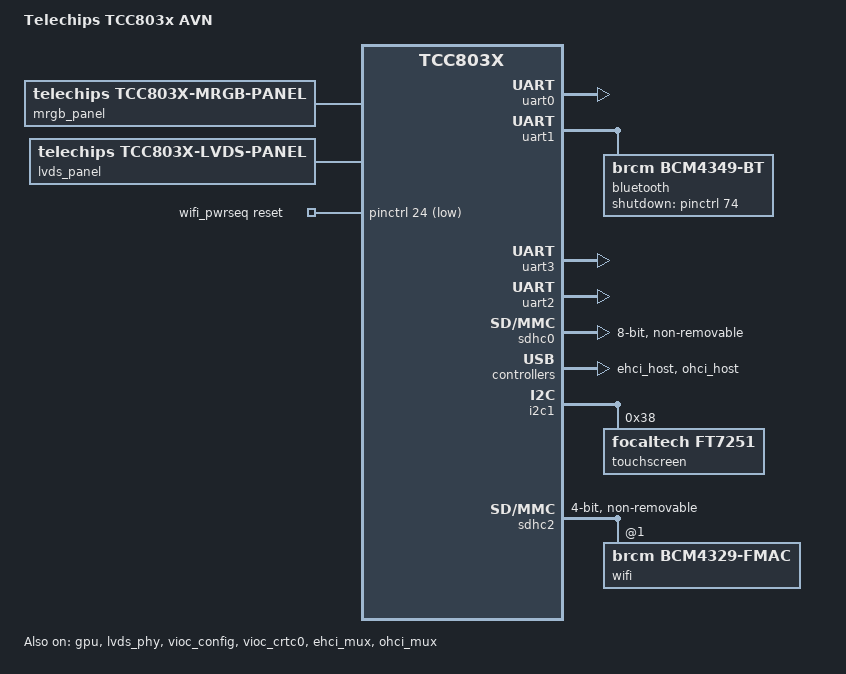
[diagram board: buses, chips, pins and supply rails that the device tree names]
// SPDX-License-Identifier: (GPL-2.0-only OR MIT)
/*
 * Minimal example board: Telechips TCC803x "AVN" (Audio Video Navigation)
 * automotive head-unit class.
 *
 * AVN as a real board class for this SoC is confirmed in vendor source:
 *   arch/arm/configs/tcc803x_android_avn_defconfig:413 (CONFIG_PLATFORM_AVN=y)
 * (path relative to AVNT5W_TCC803XKK_kernel/, see tcc803x.dtsi for the
 * full reference-tree note). No vendor .dts is literally named
 * "tcc803x-avn" -- real AVN board .dts files in that tree are named for
 * sibling chips in the family (tcc8970/tcc8971/tcc8031). This file is a
 * from-scratch placeholder board using the generic SoC name, not a port
 * of any specific vendor board file.
 *
 * Everything board-specific below (model string, memory size, UART
 * enablement) is a placeholder pending a real schematic/board reference.
 */

/dts-v1/;

#include <dt-bindings/gpio/gpio.h>
#include "tcc803x.dtsi"

/ {
	model = "Telechips TCC803x AVN";
	compatible = "telechips,tcc803x-avn", "telechips,tcc803x";

	aliases {
		serial0 = &uart0;
		serial1 = &uart1;
		serial2 = &uart2;
		serial3 = &uart3;
	};

	chosen {
		/*
		 * Baud confirmed: vendor tcc803x.dtsi:29-30 (bootargs
		 * console=ttyAMA0,115200n8).
		 */
		stdout-path = "serial0:115200n8";

		/*
		 * The panel's scanout buffer the stock firmware leaves running:
		 * RDMA0 page 0 (the decompressor points RDMA0 BASE0 at it), the
		 * 1920x720 ARGB8888 layer behind the LVDS serializer.
		 */
		#address-cells = <1>;
		#size-cells = <1>;
		ranges;

		framebuffer@88000000 {
			compatible = "simple-framebuffer";
			reg = <0x88000000 0x546000>;
			width = <1920>;
			height = <720>;
			stride = <7680>;
			format = "a8r8g8b8";
		};
	};

	/*
	 * Component-master glue (drivers/gpu/drm/telechips/tcc803x_drm_drv.c)
	 * walks this "ports" phandle list positionally (drm_of_component_match_add()),
	 * not by compatible string. Only &vioc_crtc0 is listed: it is the only
	 * block that actually calls component_add() (tcc803x_drm_vioc.c).
	 *
	 * hdmi_tx is NOT listed here. Its driver
	 * (drivers/gpu/drm/bridge/tcc803x-dw-hdmi.c) is a DRM bridge, not a
	 * component - it registers via dw_hdmi_probe()/drm_bridge_add() and
	 * never calls component_add(), so a phandle in this match set would
	 * never be satisfied and component_bind_all() would wait on it
	 * forever. Instead, tcc803x_drm_vioc.c's ->bind() resolves hdmi_tx
	 * through the vioc_crtc0/hdmi_tx OF-graph "port"/"endpoint" pair in
	 * tcc803x.dtsi (devm_drm_of_get_bridge()) and calls
	 * drm_bridge_attach() directly on its own CRTC-owned encoder - the
	 * standard mainline pattern for a bridge behind a component CRTC
	 * (cf. drivers/gpu/drm/mxsfb/lcdif_drv.c's lcdif_attach_bridge()).
	 */
	display: display-subsystem {
		compatible = "telechips,tcc803x-display-subsystem";
		ports = <&vioc_crtc0>;
	};

	/*
	 * MRGB (synchronous parallel-RGB) panel output: structural only.
	 * Not in the "ports" component-match list above, and not OF-graph
	 * connected to vioc_crtc0's own port/endpoint (that endpoint is
	 * already paired 1:1 with hdmi_tx_in in tcc803x.dtsi; DISP0 is
	 * understood to feed HDMI and MRGB simultaneously on real hardware,
	 * but no driver here resolves a second, MRGB-side consumer yet, so
	 * adding a second endpoint would describe a connection nothing
	 * acts on). See Documentation/devicetree/bindings/display/
	 * telechips/telechips,tcc803x-mrgb-panel.yaml for what is and is
	 * not confirmed about this path -- notably, VIOC_OUTCFG_MRGB is
	 * never called by any vendor driver found in
	 * AVNT5W_TCC803XKK_kernel, and the only other same-resolution
	 * panel in that vendor tree is LVDS, off the same DISP0 this node
	 * uses (not DISP1 as an earlier pass claimed -- that board's own
	 * dts carries zero DISP overrides; it includes the real AVN
	 * board's base dtsi unmodified, whose fbdisplay node is
	 * fbdisplay_num=0). LVDS has a complete vendor driver and an on-die
	 * PHY (lvds_phy@12370000 in tcc803x.dtsi). Its CKC_PCLKCTRL gate
	 * (PERI_LVDS_PHY, clock ID 105) read EN=1/SEL=XIN on a live
	 * register capture off the real running unit -- the LVDS PHY's
	 * clock is actually enabled right now, not just present in source.
	 * (lvds_variant_check-gpio/digital_variant_check-gpio, named
	 * alongside each other in the real board's pinctrl, turned out to
	 * be camera-link variant detection -- drivers/misc/mobis/
	 * daudio_pinctrl.c:608-617 -- not display-panel detection; a live
	 * read of both returned 0/0 and doesn't bear on this question.)
	 * Real vendor source + live clock-gate evidence both lean LVDS over
	 * MRGB for the actual panel, even though this node stays MRGB
	 * pending live confirmation that DISP0's pixel stream actually
	 * reaches the panel through lvds_phy (see the binding's caveat
	 * section). This node exists so the real, live-captured DISP0
	 * timing has somewhere honest to live, not as a claim that an MRGB
	 * pipeline works end to end.
	 */
	mrgb_panel: panel {
		compatible = "telechips,tcc803x-mrgb-panel";
		width-mm = <92>;
		height-mm = <243>;

		panel-timing {
			hactive = <1920>;
			vactive = <720>;
			hsync-len = <31>;
			hfront-porch = <49>;
			hback-porch = <159>;
			vsync-len = <4>;
			vfront-porch = <14>;
			vback-porch = <27>;
			/*
			 * clock-frequency intentionally omitted -- see the
			 * binding's description for why this is a tracked
			 * gap, not an oversight. A dtbs_check run against
			 * mainline's generic panel-timing.yaml (which lists
			 * clock-frequency as required) will flag this node;
			 * that failure is expected until the real pixel
			 * clock is known, not a sign this node is wrong.
			 */
		};
	};
};

&uart0 {
	status = "okay";
};

/*
 * The BCM4359 combo chip's Bluetooth: an HCI UART, hardware flow control,
 * 115200 for the patch download. BT_RESET is gpc 13 (32 + 29 + 13 = pin 74),
 * which hci_bcm holds low until the controller is opened. No BT_REG_ON or
 * wake lines on this unit. The patch RAM (the stock bcm4349.hcd) is the
 * userspace's to supply: brcm/BCM4349B1.hcd or brcm/BCM.hcd.
 */
&uart1 {
	status = "okay";

	bluetooth {
		compatible = "brcm,bcm4349-bt";
		shutdown-gpios = <&pinctrl 74 GPIO_ACTIVE_HIGH>;
	};
};

/*
 * The GNSS receiver (vendor ttyTCC3, /dev/ttyGPS0 to the stock HAL), 115200 8N1.
 * Only the port is enabled: the receiver's power and reset lines (gpg-4
 * GPS_ANT_PWR_ON, gpa-26 GPS_RESET_N, polarity per hardware revision) are not
 * driven, so after a kexec from Android the chip is read as the stock left it.
 * The stock HAL speaks a binary protocol on it ("hippo"), not NMEA.
 */
&uart3 {
	status = "okay";
};

/*
 * The Mali-G51. Enabled on purpose, though nothing in the vendor sources powers
 * or resets the block: if its registers are not reachable, the first read at
 * probe stalls the bus and the unit resets back to the stock Android.
 */
&gpu {
	status = "okay";
};

/* The link to the micom, which resets the SoC unless userspace answers it. */
&uart2 {
	status = "okay";
};

/*
 * eMMC enablement confirmed: vendor mobis/tcc8031-android-avn.dtsi:
 * 797-815 (sdhc@16440000 override -- the TCC8031-based AVN board this
 * SoC family's real AVN boards are built on). vendor fstab path
 * "/dev/block/platform/16440000.sdhc/..." (mobis/tcc803x-android.dtsi:53)
 * independently confirms sdhc0 (0x1644_0000) is the eMMC boot device,
 * matching the "eMMC Boot" comment on sdhc0 in tcc803x.dtsi.
 *
 * bus-width, max-frequency, non-removable, disable-wp, cap-mmc-hw-reset,
 * mmc-ddr-1_8v: vendor values at the cited lines, carried over unchanged.
 * Omitted from the vendor block: pinctrl-0 (&sd0_clk/&sd0_cmd/&sd0_bus8,
 * no pinctrl binding/driver exists yet), vqmmc-supply (&vqmmc_emmc, no
 * regulator node defined here), tcc-mmc-reset (&gpsd0 14 0, no GPIO
 * controller node defined here), and the vendor-internal tcc-kpanic /
 * no-sdio / no-sd properties (kernel-panic-dump and mode-restriction
 * flags private to the vendor driver, not part of this binding).
 */
&sdhc0 {
	status = "okay";
	bus-width = <8>;
	max-frequency = <198000000>;
	non-removable;
	disable-wp;
	cap-mmc-hw-reset;
	mmc-ddr-1_8v;
};

/*
 * HDMI: real, vendor-confirmed wiring (hdmi_ref_src_clock = <0> / XIN,
 * hdmi_phy_type = <0> / PHY 8980, arch/arm/boot/dts/mobis/
 * tcc8031-android-avn.dtsi:285-295). Left disabled by default on THIS
 * board file for now: devm_drm_of_get_bridge(dev, dev->of_node, 0, 0)
 * in tcc803x_drm_vioc.c's tcc803x_vioc_attach_bridge() resolves exactly
 * one bridge off vioc_crtc0's single output endpoint (port 0, endpoint
 * 0) -- it does not walk or chain multiple bridges, so HDMI and the
 * LVDS bridge below cannot both be the live target of that endpoint at
 * once without a driver change. LVDS is wired live below instead for
 * this kexec test pass, since exercising that untested path is the
 * point of this round of bring-up. To go back to testing HDMI: set
 * status="okay" here (with the properties below) and remove the
 * &vioc_crtc0_out override below so vioc_crtc0_out keeps its
 * tcc803x.dtsi default (&hdmi_tx_in).
 */
&hdmi_tx {
	status = "disabled";
	telechips,ref-clock-source = <0>;
	telechips,phy-type = <0>;
};

/*
 * LVDS: wired live for this kexec test pass (see &hdmi_tx above for
 * why only one of HDMI/LVDS can be live at a time). Panel referenced
 * structurally only (telechips,tcc803x-lvds-panel.yaml) -- see
 * drivers/gpu/drm/bridge/tcc803x-lvds.c for why this bridge does not
 * chain to it. clk and the 4 register regions are real
 * (tcc803x.dtsi's lvds_phy node); PHY-level register init is NOT
 * implemented by that driver -- see its header for why.
 */
&lvds_phy {
	status = "okay";
};

&vioc_crtc0_out {
	remote-endpoint = <&lvds_phy_in>;
};

&lvds_phy_in {
	remote-endpoint = <&vioc_crtc0_out>;
};

/ {
	lvds_panel: lvds-panel {
		compatible = "telechips,tcc803x-lvds-panel";
		width-mm = <92>;
		height-mm = <243>;

		panel-timing {
			hactive = <1920>;
			vactive = <720>;
			hsync-len = <31>;
			hfront-porch = <49>;
			hback-porch = <159>;
			vsync-len = <4>;
			vfront-porch = <14>;
			vback-porch = <27>;
		};
	};
};

/*
 * VIOC single-plane path: RDMA0 -> WMIX0/DISP0 -> lvds_phy (this build)
 * or hdmi_tx (see above). See tcc803x.dtsi's vioc-config/vioc-rdma0/
 * vioc-crtc0 nodes for register citations and what's deliberately not
 * modeled.
 */
&vioc_config {
	status = "okay";
};

&vioc_rdma0 {
	status = "okay";
};

&vioc_crtc0 {
	status = "okay";
};

/*
 * External USB-A host port: forced host-only (dr_mode), see dwc_otg's
 * comment in tcc803x.dtsi for why device mode is physically unreachable
 * on this connector. Enabled here as the board's intended debug-console
 * path once no UART header is accessible -- plug a USB-to-TTL adapter
 * (CP2102/CH340/FTDI-class) into this port and add
 * "console=ttyUSB0,115200" (or ttyACM0 for a CDC-ACM adapter) to the
 * kernel command line; see arch/arm/configs/multi_v7_defconfig's
 * CONFIG_USB_SERIAL_* selections.
 *
 * status = "okay" here is a statement of board intent, not a claim this
 * path is verified end-to-end: dwc_otg's clocks/clock-names are still
 * unmodeled (see its comment) and dwc_otg_phy has no mainline driver
 * yet, so a dtbs_check run against this node is expected to fail on the
 * missing required clocks property until that driver work lands. Not
 * reverted to "disabled" because the gap is in clock/PHY driver
 * support, not in this node's own correctness -- same treatment as
 * mrgb_panel's deliberately-omitted clock-frequency above.
 */
/*
 * The OTG core stays disabled: on this board the USB-A port is run in host
 * mode through the EHCI/OHCI pair behind the mux (vendor registers: OTG core
 * idle in device mode, HPRT0 = 0 with a stick plugged in), and a host-mode
 * dwc2 here only finds a bogus full-speed device and could disturb the mux.
 */
&dwc_otg {
	status = "disabled";
};

&ehci_mux {
	status = "okay";
};

&ohci_mux {
	status = "okay";
};

&ehci_host {
	status = "okay";
};

&ohci_host {
	status = "okay";
};

&i2c1 {
	status = "okay";

	/*
	 * FocalTech FT7251 touch controller (vendor log: chip id 0x7251, fw 7,
	 * 5 points, 1920x720), behind the display SerDes. No reset-gpios on
	 * purpose: its firmware carries the panel's init code and the SerDes
	 * link is already up, so probing must not reset it. The interrupt is
	 * the vendor's gpsd1 9, which the vendor kernel's external-interrupt
	 * block routes to GIC 35 (SPI 3); polarity/edge as that block left it.
	 */
	touchscreen@38 {
		compatible = "focaltech,ft7251";
		reg = <0x38>;
		interrupt-parent = <&gic>;
		interrupts = <GIC_SPI 3 IRQ_TYPE_LEVEL_HIGH>;
		touchscreen-size-x = <1920>;
		touchscreen-size-y = <720>;
	};
};

/*
 * Onboard Broadcom/Cypress BCM4359 Wi-Fi, a SDIO function on sdhc2
 * (0x16460000; the vendor's "mmc1", SDR104 SDIO card). The vendor DT
 * (mobis/tcc8031-android-avn.dtsi) has this host as 4-bit, 50 MHz, pinctrl
 * sd2_{clk,cmd,bus4}/out0_clk (out0_clk supplies the chip's 32 kHz sleep clock; left as
 * the vendor kernel set it up). WL_REG_ON is gpa 24 (the vendor log prints
 * wifi_reg_on_port=24). Firmware: brcm/brcmfmac4359-sdio.{bin,txt,clm_blob}
 * from the vendor's fw_bcmdhd.bin, bcmdhd.cal and 89359.clm_blob. No
 * vmmc/vqmmc regulators are modeled, so signalling stays at 3.3 V
 * (high-speed 50 MHz); the vendor kernel runs SDR104 at 1.8 V.
 */
/ {
	wifi_pwrseq: wifi-pwrseq {
		compatible = "mmc-pwrseq-simple";
		reset-gpios = <&pinctrl 24 GPIO_ACTIVE_LOW>;
		post-power-on-delay-ms = <20>;
		power-off-delay-us = <10000>;
	};
};

&sdhc2 {
	status = "okay";
	#address-cells = <1>;
	#size-cells = <0>;
	bus-width = <4>;
	max-frequency = <50000000>;
	non-removable;
	cap-sdio-irq;
	keep-power-in-suspend;
	mmc-pwrseq = <&wifi_pwrseq>;

	wifi@1 {
		reg = <1>;
		compatible = "brcm,bcm4329-fmac";
	};
};

/*
 * Audio out of the SoC: stereo I2S on audio block 3 (pads gpe-11/12/13:
 * BCLK, LRCK, DAO0; vendor mobis/tcc8031-pinctrl.dtsi:2182-2212) and the
 * 7.1ch block 0 (gpc-20..28), to whatever the amplifier path is. The vendor
 * DT has no codec on either: every dai-link there has a dummy codec, and no
 * mute/enable GPIO or amplifier I2C device appears in the kernel or its DT,
 * so unmuting the stock amplifier is not understood (see the audio notes).
 *
 * DISABLED. Enabling this turns on the SMC-driven clock provider and the
 * I2S/ADMA registers; none of it has run on hardware. Do it in this order:
 * 1. &sipclk alone (telechips,read-only stays on): only SMC state queries.
 * 2. add &i2s3 and &sound_i2s3: probe writes only the pads'
 *    function-select (gpe-11/12/13, function 2, as the stock kernel does);
 *    the first startup (aplay) writes the DAI and ADMA registers.
 * 3. drop telechips,read-only from &sipclk to let the driver set rates.
 */
&i2s3 {
	pinctrl-names = "default";
	pinctrl-0 = <&i2s3_grp>;
};

/ {
	i2s_dit: audio-codec {
		compatible = "linux,spdif-dit";
		#sound-dai-cells = <0>;
		status = "disabled";
	};

	sound_i2s3: sound-i2s3 {
		compatible = "simple-audio-card";
		simple-audio-card,name = "tcc803x-i2s3";
		simple-audio-card,format = "i2s";
		simple-audio-card,bitclock-master = <&sound_i2s3_cpu>;
		simple-audio-card,frame-master = <&sound_i2s3_cpu>;
		status = "disabled";

		sound_i2s3_cpu: simple-audio-card,cpu {
			sound-dai = <&i2s3>;
		};

		simple-audio-card,codec {
			sound-dai = <&i2s_dit>;
		};
	};
};
